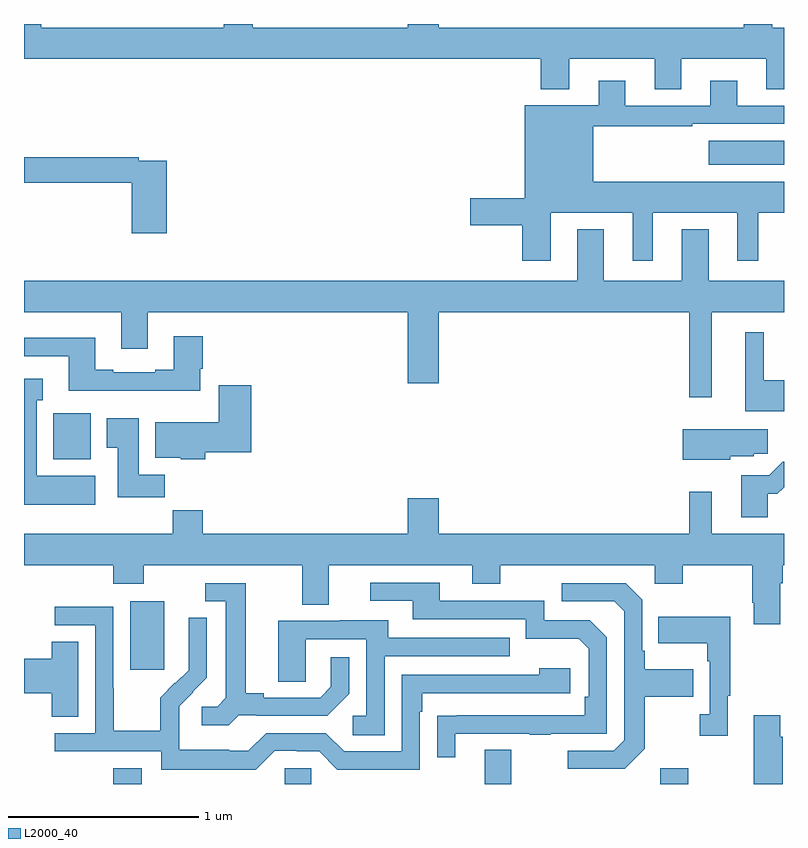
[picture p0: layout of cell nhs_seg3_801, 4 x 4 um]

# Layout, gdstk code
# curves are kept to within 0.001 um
import gdstk
lib = gdstk.Library(unit=1e-6, precision=1e-09)
def R(c, l, rs):  # rectangles x0, y0, x1, y1
    for r in rs: c.add(gdstk.rectangle(r[:2], r[2:], *l))
def P(c, l, *ps):  # polygons
    for p in ps: c.add(gdstk.Polygon(p, *l))
L2000_40 = (2000, 40)

nhs_seg3_801 = lib.new_cell('nhs_seg3_801')
R(nhs_seg3_801, L2000_40, [(151.469,730.4,151.621,730.483), (152.373,730.4,152.511,730.482), (153.425,730.4,153.565,730.579), (154.349,730.4,154.497,730.483), (151.559,731.001,151.738,731.362), (151.154,732.11,151.351,732.352), (154.605,733.658,155,733.786)])
P(nhs_seg3_801, L2000_40, [(154.459,734.216),(154.907,734.216),(154.907,734.056),(155,734.056),(155,734.38),(154.939,734.38),(154.939,734.4),(154.787,734.4),(154.787,734.38),(153.184,734.38),(153.184,734.4),(153.02,734.4),(153.02,734.38),(152.204,734.38),(152.204,734.4),(152.051,734.4),(152.051,734.38),(151.091,734.38),(151.091,734.4),(151,734.4),(151,734.216),(153.719,734.216),(153.719,734.057),(153.871,734.057),(153.871,734.216),(154.319,734.216),(154.319,734.056),(154.459,734.056)],
  [(153.772,733.406),(154.205,733.406),(154.205,733.155),(154.309,733.155),(154.309,733.406),(154.754,733.406),(154.754,733.155),(154.864,733.155),(154.864,733.406),(155,733.406),(155,733.57),(153.997,733.57),(153.997,733.863),(154.517,733.863),(154.517,733.875),(155,733.875),(155,733.971),(154.753,733.971),(154.753,734.101),(154.613,734.101),(154.613,733.971),(154.165,733.971),(154.165,734.101),(154.025,734.101),(154.025,733.972),(153.635,733.972),(153.635,733.484),(153.348,733.484),(153.348,733.342),(153.623,733.342),(153.623,733.155),(153.772,733.155)],
  [(151.751,733.68),(151.604,733.68),(151.604,733.7),(151,733.7),(151,733.564),(151.568,733.564),(151.568,733.299),(151.751,733.299)],
  [(154.621,732.884),(155,732.884),(155,733.048),(154.603,733.048),(154.603,733.321),(154.463,733.321),(154.463,733.048),(154.051,733.048),(154.051,733.321),(153.911,733.321),(153.911,733.048),(151,733.048),(151,732.884),(151.511,732.884),(151.511,732.69),(151.651,732.69),(151.651,732.884),(153.02,732.884),(153.02,732.51),(153.184,732.51),(153.184,732.884),(154.5,732.884),(154.5,732.435),(154.621,732.435)],
  [(155,732.526),(154.894,732.526),(154.894,732.778),(154.796,732.778),(154.796,732.362),(155,732.362)],
  [(151.927,732.586),(151.94,732.586),(151.94,732.757),(151.787,732.757),(151.787,732.58),(151.691,732.58),(151.691,732.567),(151.471,732.567),(151.471,732.58),(151.375,732.58),(151.375,732.748),(151,732.748),(151,732.651),(151.235,732.651),(151.235,732.47),(151.927,732.47)],
  [(151.375,732.022),(151.066,732.022),(151.066,732.419),(151.099,732.419),(151.099,732.532),(151,732.532),(151,731.87),(151.375,731.87)],
  [(151.955,732.146),(152.195,732.146),(152.195,732.499),(152.024,732.499),(152.024,732.304),(151.691,732.304),(151.691,732.116),(151.824,732.116),(151.824,732.11),(151.955,732.11)],
  [(151.742,732.028),(151.603,732.028),(151.603,732.325),(151.436,732.325),(151.436,732.169),(151.493,732.169),(151.493,731.91),(151.742,731.91)],
  [(154.716,732.125),(154.842,732.125),(154.842,732.139),(154.915,732.139),(154.915,732.268),(154.466,732.268),(154.466,732.107),(154.716,732.107)],
  [(154.915,731.927),(154.964,731.927),(155,731.963),(155,732.095),(154.994,732.095),(154.923,732.024),(154.775,732.024),(154.775,731.805),(154.915,731.805)],
  [(154.981,731.456),(154.994,731.456),(154.994,731.552),(155,731.552),(155,731.716),(154.621,731.716),(154.621,731.938),(154.5,731.938),(154.5,731.716),(153.184,731.716),(153.184,731.905),(153.02,731.905),(153.02,731.716),(151.94,731.716),(151.94,731.84),(151.783,731.84),(151.783,731.716),(151,731.716),(151,731.552),(151.469,731.552),(151.469,731.453),(151.629,731.453),(151.629,731.552),(152.465,731.552),(152.465,731.344),(152.605,731.344),(152.605,731.552),(153.359,731.552),(153.359,731.453),(153.507,731.453),(153.507,731.552),(154.32,731.552),(154.32,731.453),(154.467,731.453),(154.467,731.552),(154.834,731.552),(154.834,731.353),(154.841,731.353),(154.841,731.241),(154.981,731.241)],
  [(153.271,730.665),(153.661,730.665),(153.661,730.66),(153.773,730.66),(153.773,730.665),(154.068,730.665),(154.068,731.172),(153.978,731.262),(153.738,731.262),(153.738,731.364),(153.187,731.364),(153.187,731.46),(152.823,731.46),(152.823,731.364),(153.047,731.364),(153.047,731.268),(153.642,731.268),(153.642,731.165),(153.919,731.165),(153.972,731.112),(153.972,730.858),(153.952,730.858),(153.952,730.761),(153.175,730.76),(153.175,730.542),(153.271,730.542)],
  [(154.267,730.585),(154.267,730.858),(154.523,730.858),(154.523,731.005),(154.267,731.005),(154.267,731.101),(154.254,731.101),(154.254,731.37),(154.167,731.457),(153.831,731.457),(153.831,731.361),(154.107,731.361),(154.158,731.31),(154.158,730.629),(154.104,730.575),(153.861,730.575),(153.861,730.479),(154.161,730.479)],
  [(152.13,730.761),(152.224,730.761),(152.224,730.758),(152.596,730.758),(152.712,730.874),(152.712,731.068),(152.615,731.068),(152.615,730.911),(152.558,730.854),(152.263,730.854),(152.263,730.877),(152.167,730.877),(152.167,731.457),(151.953,731.457),(151.953,731.361),(152.063,731.361),(152.063,730.853),(152.016,730.806),(151.935,730.806),(151.935,730.709),(152.078,730.709)],
  [(152.319,730.575),(152.435,730.575),(152.435,730.572),(152.553,730.572),(152.649,730.476),(153.084,730.476),(153.084,730.781),(153.097,730.781),(153.097,730.878),(153.874,730.878),(153.874,731.008),(153.713,731.008),(153.713,730.974),(152.988,730.974),(152.988,730.572),(152.685,730.572),(152.589,730.668),(152.274,730.668),(152.181,730.575),(152.081,730.575),(152.081,730.579),(151.818,730.579),(151.818,730.713),(151.816,730.713),(151.816,730.81),(151.962,730.958),(151.962,731.276),(151.866,731.276),(151.866,731.122),(151.868,731.122),(151.868,731),(151.797,730.929),(151.794,730.932),(151.717,730.855),(151.717,730.681),(151.473,730.681),(151.473,730.904),(151.47,730.904),(151.47,731.334),(151.161,731.334),(151.161,731.235),(151.374,731.235),(151.374,730.668),(151.161,730.668),(151.161,730.572),(151.722,730.572),(151.722,730.475),(152.219,730.475)],
  [(154.705,730.865),(154.717,730.865),(154.717,731.281),(154.339,731.281),(154.339,731.141),(154.596,731.141),(154.596,731.045),(154.608,731.045),(154.608,730.766),(154.557,730.766),(154.557,730.653),(154.705,730.653)],
  [(152.898,731.073),(153.557,731.073),(153.557,731.169),(152.917,731.169),(152.917,731.263),(152.663,731.263),(152.663,731.259),(152.339,731.259),(152.339,730.939),(152.484,730.939),(152.484,731.163),(152.802,731.163),(152.802,730.758),(152.73,730.758),(152.73,730.657),(152.898,730.657)],
  [(151.285,731.15),(151.147,731.15),(151.147,731.06),(151,731.06),(151,730.877),(151.147,730.877),(151.147,730.753),(151.285,730.753)],
  [(154.994,730.649),(154.981,730.649),(154.981,730.762),(154.841,730.762),(154.841,730.4),(154.994,730.4)])

lib.write_gds('nhs_seg3_801.gds')
